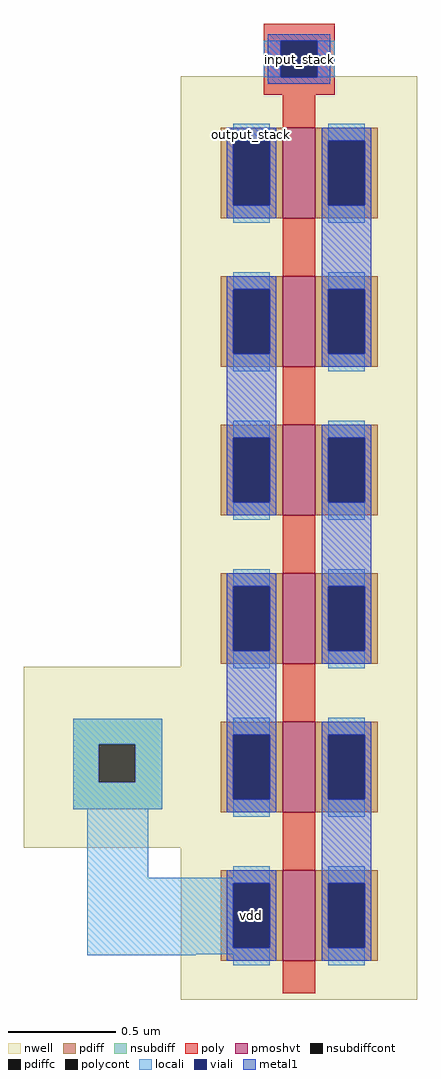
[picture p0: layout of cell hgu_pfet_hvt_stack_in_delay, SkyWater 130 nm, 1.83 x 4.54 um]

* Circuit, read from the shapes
.subckt hgu_pfet_hvt_stack_in_delay input_stack vdd output_stack
XM1 n1 input_stack vdd vdd sky130_fd_pr__pfet_01v8_hvt w=0.42 l=0.15
XM2 n1 input_stack n2 vdd sky130_fd_pr__pfet_01v8_hvt w=0.42 l=0.15
XM3 n3 input_stack n2 vdd sky130_fd_pr__pfet_01v8_hvt w=0.42 l=0.15
XM4 n3 input_stack n4 vdd sky130_fd_pr__pfet_01v8_hvt w=0.42 l=0.15
XM5 n5 input_stack n4 vdd sky130_fd_pr__pfet_01v8_hvt w=0.42 l=0.15
XM6 n5 input_stack output_stack vdd sky130_fd_pr__pfet_01v8_hvt w=0.42 l=0.15
.ends

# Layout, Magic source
magic
tech sky130A
magscale 1 2
<< nwell >>
rect 48 349 268 898
rect -98 181 268 349
rect 48 40 268 181
<< pmoshvt >>
rect 143 766 173 850
rect 143 628 173 712
rect 143 490 173 574
rect 143 352 173 436
rect 143 214 173 298
rect 143 76 173 160
<< pdiff >>
rect 85 838 143 850
rect 85 778 97 838
rect 131 778 143 838
rect 85 766 143 778
rect 173 838 231 850
rect 173 778 185 838
rect 219 778 231 838
rect 173 766 231 778
rect 85 700 143 712
rect 85 640 97 700
rect 131 640 143 700
rect 85 628 143 640
rect 173 700 231 712
rect 173 640 185 700
rect 219 640 231 700
rect 173 628 231 640
rect 85 562 143 574
rect 85 502 97 562
rect 131 502 143 562
rect 85 490 143 502
rect 173 562 231 574
rect 173 502 185 562
rect 219 502 231 562
rect 173 490 231 502
rect 85 424 143 436
rect 85 364 97 424
rect 131 364 143 424
rect 85 352 143 364
rect 173 424 231 436
rect 173 364 185 424
rect 219 364 231 424
rect 173 352 231 364
rect 85 286 143 298
rect 85 226 97 286
rect 131 226 143 286
rect 85 214 143 226
rect 173 286 231 298
rect 173 226 185 286
rect 219 226 231 286
rect 173 214 231 226
rect 85 148 143 160
rect 85 88 97 148
rect 131 88 143 148
rect 85 76 143 88
rect 173 148 231 160
rect 173 88 185 148
rect 219 88 231 148
rect 173 76 231 88
<< pdiffc >>
rect 97 778 131 838
rect 185 778 219 838
rect 97 640 131 700
rect 185 640 219 700
rect 97 502 131 562
rect 185 502 219 562
rect 97 364 131 424
rect 185 364 219 424
rect 97 226 131 286
rect 185 226 219 286
rect 97 88 131 148
rect 185 88 219 148
<< nsubdiff >>
rect -52 277 31 301
rect -52 242 -28 277
rect 6 242 31 277
rect -52 217 31 242
<< nsubdiffcont >>
rect -28 242 6 277
<< poly >>
rect 125 931 191 947
rect 125 897 141 931
rect 175 897 191 931
rect 125 881 191 897
rect 143 850 173 881
rect 143 712 173 766
rect 143 574 173 628
rect 143 436 173 490
rect 143 298 173 352
rect 143 160 173 214
rect 143 46 173 76
<< polycont >>
rect 141 897 175 931
<< locali >>
rect 125 897 141 931
rect 175 897 191 931
rect 97 838 131 854
rect 97 762 131 778
rect 185 838 219 854
rect 185 762 219 778
rect 97 700 131 716
rect 97 624 131 640
rect 185 700 219 716
rect 185 624 219 640
rect 97 562 131 578
rect 97 486 131 502
rect 185 562 219 578
rect 185 486 219 502
rect 97 424 131 440
rect 97 348 131 364
rect 185 424 219 440
rect 185 348 219 364
rect -52 277 31 301
rect -52 242 -28 277
rect 6 242 31 277
rect -52 217 31 242
rect 97 286 131 302
rect -39 153 18 217
rect 97 210 131 226
rect 185 286 219 302
rect 185 210 219 226
rect 97 153 131 164
rect -39 148 131 153
rect -39 88 97 148
rect -39 82 131 88
rect -39 81 62 82
rect 97 72 131 82
rect 185 148 219 164
rect 185 72 219 88
<< viali >>
rect 141 897 175 931
rect 97 778 131 838
rect 185 778 219 838
rect 97 640 131 700
rect 185 640 219 700
rect 97 502 131 562
rect 185 502 219 562
rect 97 364 131 424
rect 185 364 219 424
rect 97 226 131 286
rect 185 226 219 286
rect 97 88 131 148
rect 185 88 219 148
<< metal1 >>
rect 129 931 187 937
rect 129 897 141 931
rect 175 897 187 931
rect 129 891 187 897
rect 91 838 137 850
rect 91 778 97 838
rect 131 778 137 838
rect 91 766 137 778
rect 179 838 225 850
rect 179 778 185 838
rect 219 778 225 838
rect 91 700 137 712
rect 91 640 97 700
rect 131 640 137 700
rect 91 562 137 640
rect 179 700 225 778
rect 179 640 185 700
rect 219 640 225 700
rect 179 628 225 640
rect 91 502 97 562
rect 131 502 137 562
rect 91 490 137 502
rect 179 562 225 574
rect 179 502 185 562
rect 219 502 225 562
rect 91 424 137 436
rect 91 364 97 424
rect 131 364 137 424
rect 91 286 137 364
rect 179 424 225 502
rect 179 364 185 424
rect 219 364 225 424
rect 179 352 225 364
rect 91 226 97 286
rect 131 226 137 286
rect 91 214 137 226
rect 179 286 225 298
rect 179 226 185 286
rect 219 226 225 286
rect 91 148 137 160
rect 91 88 97 148
rect 131 88 137 148
rect 91 76 137 88
rect 179 148 225 226
rect 179 88 185 148
rect 219 88 225 148
rect 179 76 225 88
<< labels >>
flabel metal1 141 897 175 931 0 FreeSans 320 0 0 0 input_stack
port 0 nsew
flabel nwell 97 88 131 148 0 FreeSans 320 0 0 0 vdd
port 1 nsew
flabel metal1 91 838 137 850 0 FreeSans 320 0 0 0 output_stack
port 6 nsew
<< end >>
